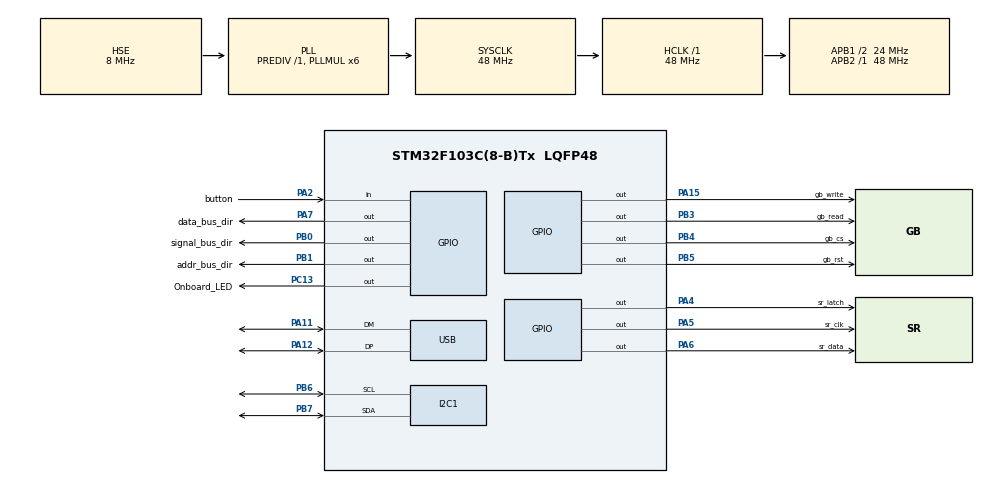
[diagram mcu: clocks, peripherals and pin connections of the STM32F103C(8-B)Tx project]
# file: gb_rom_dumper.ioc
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Mcu.Family=STM32F1
Mcu.Name=STM32F103C(8-B)Tx
Mcu.Package=LQFP48
NVIC.PriorityGroup=NVIC_PRIORITYGROUP_4
NVIC.USB_LP_CAN1_RX0_IRQn=true\:0\:0\:false\:false\:true\:false\:true\:true
PA11.Mode=Device
PA11.Signal=USB_DM
PA12.Mode=Device
PA12.Signal=USB_DP
PA15.GPIO_Label=gb_write
PA15.Signal=GPIO_Output
PA2.GPIO_Label=button
PA2.Signal=GPIO_Input
PA4.GPIO_Label=sr_latch
PA4.Signal=GPIO_Output
PA5.GPIO_Label=sr_clk
PA5.Signal=GPIO_Output
PA6.GPIO_Label=sr_data
PA6.Signal=GPIO_Output
PA7.GPIO_Label=data_bus_dir
PA7.Signal=GPIO_Output
PB0.GPIO_Label=signal_bus_dir
PB0.Signal=GPIO_Output
PB1.GPIO_Label=addr_bus_dir
PB1.Signal=GPIO_Output
PB3.GPIO_Label=gb_read
PB3.Signal=GPIO_Output
PB4.GPIO_Label=gb_cs
PB4.Signal=GPIO_Output
PB5.GPIO_Label=gb_rst
PB5.Signal=GPIO_Output
PB6.Mode=I2C
PB6.Signal=I2C1_SCL
PB7.Mode=I2C
PB7.Signal=I2C1_SDA
PC13-TAMPER-RTC.GPIO_Label=Onboard_LED
PC13-TAMPER-RTC.Signal=GPIO_Output
PD0-OSC_IN.Mode=HSE-External-Oscillator
PD0-OSC_IN.Signal=RCC_OSC_IN
PD1-OSC_OUT.Mode=HSE-External-Oscillator
PD1-OSC_OUT.Signal=RCC_OSC_OUT
ProjectManager.HeapSize=0x200
ProjectManager.StackSize=0x400
ProjectManager.TargetToolchain=STM32CubeIDE
RCC.AHBFreq_Value=48000000
RCC.APB1CLKDivider=RCC_HCLK_DIV2
RCC.APB1Freq_Value=24000000
RCC.APB1TimFreq_Value=48000000
RCC.APB2Freq_Value=48000000
RCC.APB2TimFreq_Value=48000000
RCC.HCLKFreq_Value=48000000
RCC.PLLMUL=RCC_PLL_MUL6
RCC.SYSCLKFreq_VALUE=48000000
RCC.SYSCLKSource=RCC_SYSCLKSOURCE_PLLCLK
RCC.USBFreq_Value=48000000
USB_DEVICE.CLASS_NAME_FS=CDC
USB_DEVICE.PRODUCT_STRING_CDC_FS=GBRomDumper Virtual ComPort (DEVELOPMENT
USB_DEVICE.VirtualMode=Cdc
USB_DEVICE.VirtualModeFS=Cdc_FS
VP_CRC_VS_CRC.Mode=CRC_Activate
VP_SYS_VS_ND.Mode=No_Debug
VP_USB_DEVICE_VS_USB_DEVICE_CDC_FS.Mode=CDC_FS
board=custom

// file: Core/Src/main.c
/* USER CODE BEGIN Header */
/**
  ******************************************************************************
  * @file           : main.c
  * @brief          : Main program body
  ******************************************************************************
  * @attention
  *
  * Copyright (c) 2022 STMicroelectronics.
  * All rights reserved.
  *
  * This software is licensed under terms that can be found in the LICENSE file
  * in the root directory of this software component.
  * If no LICENSE file comes with this software, it is provided AS-IS.
  *
  ******************************************************************************
  */
/* USER CODE END Header */
#include "main.h"
#include "usb_device.h"

/* USER CODE BEGIN Includes */
#include <stdbool.h>
#include <string.h>
#include "usbd_cdc_if.h"
/* USER CODE END Includes */

CRC_HandleTypeDef hcrc;

I2C_HandleTypeDef hi2c1;

/* USER CODE BEGIN PV */
gb_metadata_t gb_metadata = {0};

uint8_t usb_rx_buffer[APP_RX_DATA_SIZE];

uint8_t gb_rom_buff[ROM_BUFFER_SIZE];

uint8_t tetris_header[]  = {
	0x00, 0xC3, 0x50, 0x01, 0xCE, 0xED, 0x66, 0x66,
	0xCC, 0x0D, 0x00, 0x0B, 0x03, 0x73, 0x00, 0x83,
	0x00, 0x0C, 0x00, 0x0D, 0x00, 0x08, 0x11, 0x1F,
	0x88, 0x89, 0x00, 0x0E, 0xDC, 0xCC, 0x6E, 0xE6,
	0xDD, 0xDD, 0xD9, 0x99, 0xBB, 0xBB, 0x67, 0x63,
	0x6E, 0x0E, 0xEC, 0xCC, 0xDD, 0xDC, 0x99, 0x9F,
	0xBB, 0xB9, 0x33, 0x3E, 0x54, 0x45, 0x54, 0x52,
	0x49, 0x53, 0x00, 0x00, 0x00, 0x00, 0x00, 0x00,
	0x00, 0x00, 0x00, 0x00, 0x00, 0x00, 0x00, 0x00,
	0x00, 0x00, 0x00, 0x01, 0x01, 0x0A, 0x16, 0xBF
};
/* USER CODE END PV */

void SystemClock_Config(void);
static void MX_GPIO_Init(void);
static void MX_I2C1_Init(void);
static void MX_CRC_Init(void);
/* USER CODE BEGIN PFP */
//void init_test_gb_metadata(void)
//{
//	for(uint8_t i = 0; i < ROM_TITLE_LEN; ++i)
//	{
//		gb_metadata.rom_title[i] = i+65;
//	}
//
//	gb_metadata.manufacturers_code = 0x69;
//	gb_metadata.cgb_flag           = CGB_SUPPORT;
//	gb_metadata.new_licensee_code  = CAPCOM;
//	gb_metadata.sgb_flag           = SGB_NO;
//	gb_metadata.cart_type          = MBC1_RAM_BATT;
//	gb_metadata.rom_size           = ROM_512KB;
//	gb_metadata.ram_size           = RAM_8KB;
//	gb_metadata.dest_code          = NO_JAP;
//	gb_metadata.old_licensee_code  = 0x00;
//	gb_metadata.mask_rom_ver_num   = 0x01;
//	gb_metadata.checksum           = 0x03;
//}

void unpack_metadata(gb_metadata_t* md, uint8_t* buff)
{
	memcpy(&md->entry_point,        buff + HEADER_ADDR(CART_ENTRY_POINT),  ENTRY_POINT_LEN);
	memcpy(&md->rom_title,          buff + HEADER_ADDR(CART_TITLE),        ROM_TITLE_LEN);
	memcpy(&md->rom_title[11],      buff + HEADER_ADDR(CART_MAUFACTURER),  MAN_CODE_LEN);
	memcpy(&md->rom_title[15],      buff + HEADER_ADDR(CART_CGB_FLAG),     1);
	memcpy(&md->new_licensee_code,  buff + HEADER_ADDR(CART_NEW_LIC_CODE), 2);
	memcpy(&md->sgb_flag,           buff + HEADER_ADDR(CART_SGB_FLAG),     1);
	memcpy(&md->cart_type,          buff + HEADER_ADDR(CART_TYPE),         1);
	memcpy(&md->rom_size,           buff + HEADER_ADDR(CART_ROM_SIZE),     1);
	memcpy(&md->ram_size,           buff + HEADER_ADDR(CART_RAM_SIZE),     1);
	memcpy(&md->dest_code,          buff + HEADER_ADDR(CART_DEST_CODE),    1);
	memcpy(&md->old_licensee_code,  buff + HEADER_ADDR(CART_OLD_LIC_CODE), 1);
	memcpy(&md->mask_rom_ver_num,   buff + HEADER_ADDR(CART_MASK_ROM_VER), 1);
	memcpy(&md->checksum,           buff + HEADER_ADDR(CART_HEADER_CHECK), 1);
}

void address_bus_init();

//port b clock already started. no need to call this
void data_bus_init()
{
	// input mode & floating input are reset state so no need to set
	RCC->APB2ENR |= RCC_APB2ENR_IOPBEN;
}

inline uint8_t data_bus_read(void)
{
	// TODO: figure out what these need to be set to
//	HAL_GPIO_WritePin(data_bus_dir_GPIO_Port, data_bus_dir_Pin, GPIO_PIN_RESET);
//	HAL_GPIO_WritePin(gb_cs_GPIO_Port, gb_cs_Pin, GPIO_PIN_RESET);
//	HAL_GPIO_WritePin(gb_read_GPIO_Port, gb_read_Pin, GPIO_PIN_RESET);
	return DATA_BUS_PORT->IDR & !DATA_BUS_BITMASK;
}
void gb_set_read(void);
void gb_set_address(uint16_t addr)
{
	// TODO: figure out what these need to be set to
	gb_set_read();
	HAL_GPIO_WritePin(sr_latch_GPIO_Port, sr_latch_Pin, GPIO_PIN_RESET);

	for(uint8_t i = 0; i < ADDR_BUS_WIDTH; ++i)
	{
		HAL_GPIO_WritePin(sr_clk_GPIO_Port, sr_clk_Pin, GPIO_PIN_RESET);

		if(0x01 && (addr >> i))
		{
			HAL_GPIO_WritePin(sr_data_GPIO_Port, sr_data_Pin, GPIO_PIN_SET);
		}
		else
		{
			HAL_GPIO_WritePin(sr_data_GPIO_Port, sr_data_Pin, GPIO_PIN_RESET);
		}

		HAL_GPIO_WritePin(sr_clk_GPIO_Port, sr_clk_Pin, GPIO_PIN_SET);
	}

	HAL_GPIO_WritePin(sr_latch_GPIO_Port, sr_latch_Pin, GPIO_PIN_SET);
}

void gb_set_read(void)
{
//		HAL_GPIO_WritePin(addr_bus_dir_GPIO_Port, addr_bus_dir_Pin, GPIO_PIN_RESET);
		HAL_GPIO_WritePin(gb_cs_GPIO_Port, gb_cs_Pin, GPIO_PIN_RESET);
		HAL_GPIO_WritePin(gb_read_GPIO_Port, gb_read_Pin, GPIO_PIN_RESET);
		HAL_GPIO_WritePin(gb_write_GPIO_Port, gb_write_Pin, GPIO_PIN_SET);
}

void gb_set_write(void)
{
//		HAL_GPIO_WritePin(addr_bus_dir_GPIO_Port, addr_bus_dir_Pin, GPIO_PIN_RESET);
		HAL_GPIO_WritePin(gb_cs_GPIO_Port, gb_cs_Pin, GPIO_PIN_RESET);
		HAL_GPIO_WritePin(gb_read_GPIO_Port, gb_read_Pin, GPIO_PIN_RESET);
		HAL_GPIO_WritePin(gb_write_GPIO_Port, gb_write_Pin, GPIO_PIN_SET);
}

uint8_t gb_fetch_data(uint16_t addr)
{
	gb_set_address(addr);

	return data_bus_read();
}

inline uint8_t gb_header_checksum(gb_metadata_t *metadata)
{
	uint8_t checksum = 0;
	uint8_t *addr = (uint8_t*)&metadata->rom_title[0];

	while(addr < &metadata->checksum)
	{
		checksum -= (*addr++) - 1;
	}

	return checksum;
}

bool client_send_metadata(gb_metadata_t *metadata)
{
	client_instruction_e instruction = START_SEND_METADATA;

	while(USBD_BUSY == CDC_Transmit_FS((uint8_t*)&start_delimiter, sizeof(uint8_t)));
	while(USBD_BUSY == CDC_Transmit_FS((uint8_t*)&instruction,     sizeof(uint8_t)));
	while(USBD_BUSY == CDC_Transmit_FS((uint8_t*)metadata,         30));
	while(USBD_BUSY == CDC_Transmit_FS((uint8_t*)&end_delimiter,   sizeof(uint8_t)));

	return true;
}

void client_listen(void)
{

}

void client_send_chunk(uint8_t* data, uint8_t len);

//void set_test_metadata(gb_metadata_t *metadata)
//{
//	char title[ROM_TITLE_LEN] = "Testicles";
//
//	memcpy(gb_metadata.rom_title, title, ROM_TITLE_LEN);
//
//	gb_metadata.manufacturers_code = 0x69;
//	gb_metadata.cgb_flag           = CGB_SUPPORT;
//	gb_metadata.new_licensee_code  = CAPCOM;
//	gb_metadata.sgb_flag           = SGB_SUPPORT;
//	gb_metadata.cart_type          = POCKET_CAMERA;
//	gb_metadata.rom_size           = ROM_512KB;
//	gb_metadata.ram_size           = RAM_8KB;
//	gb_metadata.dest_code          = NO_JAP;
//	gb_metadata.old_licensee_code  = 0x00;
//	gb_metadata.mask_rom_ver_num   = 0x01;
//	gb_metadata.checksum           = 0x03;
//}

void send_test_metadata(gb_metadata_t *metadata)
{
	unpack_metadata(metadata, tetris_header);
	client_send_metadata(metadata);
}

void send_test_rom(gb_metadata_t *metadata, uint8_t num_pages)
{
	set_test_metadata(metadata);

	client_instruction_e instruction = START_SEND_ROM;
	const uint16_t size = sizeof(uint16_t) + sizeof(gb_metadata_t) + (ROM_BUFFER_SIZE * num_pages);

	while(USBD_BUSY == CDC_Transmit_FS((uint8_t*)&start_delimiter,        sizeof(uint8_t)));
	while(USBD_BUSY == CDC_Transmit_FS((uint8_t*)&instruction,            sizeof(uint8_t)));
	while(USBD_BUSY == CDC_Transmit_FS((uint8_t*)&size,                   sizeof(uint8_t)));
	while(USBD_BUSY == CDC_Transmit_FS((uint8_t*)(&size)+sizeof(uint8_t), sizeof(uint8_t))); // size >> 8. compiler yelled
	while(USBD_BUSY == CDC_Transmit_FS((uint8_t*)metadata,                sizeof(gb_metadata_t)));

	// generate buffer
	for(uint8_t page = 0; page < num_pages; ++page)
	{
		for(uint16_t i = 0; i < ROM_BUFFER_SIZE; i+=2)
		{
			gb_rom_buff[i] = 'A' + page;

			if(i < ROM_BUFFER_SIZE - 1)
			{
				gb_rom_buff[i + 1] = i;
			}
		}
		while(USBD_BUSY == CDC_Transmit_FS(gb_rom_buff, sizeof(ROM_BUFFER_SIZE)));
	}
	// tx checksum
	while(USBD_BUSY == CDC_Transmit_FS((uint8_t*)&end_delimiter,   sizeof(uint8_t)));
}

void dump_rom()
{
	for(uint16_t i = 0; i < 64; ++i)
	{

	}
}

void dump_ram();

bool get_metadata(gb_metadata_t *gb_metadata);
void get_title();

void write_oled();

//uint8_t gb_calc_checksum(uint8_t* rom);
//for usb com port stuff :  https://www.youtube.com/watch?v=92A98iEFmaA

/* USER CODE END PFP */

int main(void)
{
  /* USER CODE BEGIN 1 */
//	uint8_t usb_tx_buff[USB_TX_BUFF_LEN];

  /* USER CODE END 1 */

  /* MCU Configuration--------------------------------------------------------*/

  /* Reset of all peripherals, Initializes the Flash interface and the Systick. */
  HAL_Init();

  /* Configure the system clock */
  SystemClock_Config();

  /* Initialize all configured peripherals */
  MX_GPIO_Init();
  MX_I2C1_Init();
  MX_USB_DEVICE_Init();
  MX_CRC_Init();
  /* USER CODE BEGIN 2 */
//  init_test_gb_metadata();
//  set_test_metadata(&gb_metadata);
  	 unpack_metadata(&gb_metadata, tetris_header);

//  char* msg = "GB rom dumper usb serial";

//  memcpy(&gb_metadata, buf, sizeof(gb_msetadata_t));
  /* USER CODE END 2 */

  /* Infinite loop */
  /* USER CODE BEGIN WHILE */
  while (1)
  {
	  HAL_GPIO_TogglePin(Onboard_LED_GPIO_Port, Onboard_LED_Pin);
//	  while(USBD_BUSY == CDC_Transmit_FS((uint8_t*)msg, strlen(msg)));
//	  while(USBD_BUSY == CDC_Transmit_FS(buf, 10));
	  client_send_metadata(&gb_metadata);
	  HAL_Delay(1000);
    /* USER CODE END WHILE */

  }
}

void SystemClock_Config(void)
{
  RCC_OscInitTypeDef RCC_OscInitStruct = {0};
  RCC_ClkInitTypeDef RCC_ClkInitStruct = {0};
  RCC_PeriphCLKInitTypeDef PeriphClkInit = {0};

  /** Initializes the RCC Oscillators according to the specified parameters
  * in the RCC_OscInitTypeDef structure.
  */
  RCC_OscInitStruct.OscillatorType = RCC_OSCILLATORTYPE_HSE;
  RCC_OscInitStruct.HSEState = RCC_HSE_ON;
  RCC_OscInitStruct.HSEPredivValue = RCC_HSE_PREDIV_DIV1;
  RCC_OscInitStruct.HSIState = RCC_HSI_ON;
  RCC_OscInitStruct.PLL.PLLState = RCC_PLL_ON;
  RCC_OscInitStruct.PLL.PLLSource = RCC_PLLSOURCE_HSE;
  RCC_OscInitStruct.PLL.PLLMUL = RCC_PLL_MUL6;
  if (HAL_RCC_OscConfig(&RCC_OscInitStruct) != HAL_OK)
  {
    Error_Handler();
  }
  /** Initializes the CPU, AHB and APB buses clocks
  */
  RCC_ClkInitStruct.ClockType = RCC_CLOCKTYPE_HCLK|RCC_CLOCKTYPE_SYSCLK
                              |RCC_CLOCKTYPE_PCLK1|RCC_CLOCKTYPE_PCLK2;
  RCC_ClkInitStruct.SYSCLKSource = RCC_SYSCLKSOURCE_PLLCLK;
  RCC_ClkInitStruct.AHBCLKDivider = RCC_SYSCLK_DIV1;
  RCC_ClkInitStruct.APB1CLKDivider = RCC_HCLK_DIV2;
  RCC_ClkInitStruct.APB2CLKDivider = RCC_HCLK_DIV1;

  if (HAL_RCC_ClockConfig(&RCC_ClkInitStruct, FLASH_LATENCY_1) != HAL_OK)
  {
    Error_Handler();
  }
  PeriphClkInit.PeriphClockSelection = RCC_PERIPHCLK_USB;
  PeriphClkInit.UsbClockSelection = RCC_USBCLKSOURCE_PLL;
  if (HAL_RCCEx_PeriphCLKConfig(&PeriphClkInit) != HAL_OK)
  {
    Error_Handler();
  }
}

static void MX_CRC_Init(void)
{

  hcrc.Instance = CRC;
  if (HAL_CRC_Init(&hcrc) != HAL_OK)
  {
    Error_Handler();
  }

}

static void MX_I2C1_Init(void)
{

  hi2c1.Instance = I2C1;
  hi2c1.Init.ClockSpeed = 100000;
  hi2c1.Init.DutyCycle = I2C_DUTYCYCLE_2;
  hi2c1.Init.OwnAddress1 = 0;
  hi2c1.Init.AddressingMode = I2C_ADDRESSINGMODE_7BIT;
  hi2c1.Init.DualAddressMode = I2C_DUALADDRESS_DISABLE;
  hi2c1.Init.OwnAddress2 = 0;
  hi2c1.Init.GeneralCallMode = I2C_GENERALCALL_DISABLE;
  hi2c1.Init.NoStretchMode = I2C_NOSTRETCH_DISABLE;
  if (HAL_I2C_Init(&hi2c1) != HAL_OK)
  {
    Error_Handler();
  }

}

static void MX_GPIO_Init(void)
{
  GPIO_InitTypeDef GPIO_InitStruct = {0};

  /* GPIO Ports Clock Enable */
  __HAL_RCC_GPIOC_CLK_ENABLE();
  __HAL_RCC_GPIOD_CLK_ENABLE();
  __HAL_RCC_GPIOA_CLK_ENABLE();
  __HAL_RCC_GPIOB_CLK_ENABLE();

  /*Configure GPIO pin Output Level */
  HAL_GPIO_WritePin(Onboard_LED_GPIO_Port, Onboard_LED_Pin, GPIO_PIN_RESET);

  /*Configure GPIO pin Output Level */
  HAL_GPIO_WritePin(GPIOA, sr_latch_Pin|sr_clk_Pin|sr_data_Pin|data_bus_dir_Pin
                          |gb_write_Pin, GPIO_PIN_RESET);

  /*Configure GPIO pin Output Level */
  HAL_GPIO_WritePin(GPIOB, signal_bus_dir_Pin|addr_bus_dir_Pin|gb_read_Pin|gb_cs_Pin
                          |gb_rst_Pin, GPIO_PIN_RESET);

  /*Configure GPIO pin : Onboard_LED_Pin */
  GPIO_InitStruct.Pin = Onboard_LED_Pin;
  GPIO_InitStruct.Mode = GPIO_MODE_OUTPUT_PP;
  GPIO_InitStruct.Pull = GPIO_NOPULL;
  GPIO_InitStruct.Speed = GPIO_SPEED_FREQ_LOW;
  HAL_GPIO_Init(Onboard_LED_GPIO_Port, &GPIO_InitStruct);

  /*Configure GPIO pin : button_Pin */
  GPIO_InitStruct.Pin = button_Pin;
  GPIO_InitStruct.Mode = GPIO_MODE_INPUT;
  GPIO_InitStruct.Pull = GPIO_NOPULL;
  HAL_GPIO_Init(button_GPIO_Port, &GPIO_InitStruct);

  /*Configure GPIO pins : sr_latch_Pin sr_clk_Pin sr_data_Pin data_bus_dir_Pin
                           gb_write_Pin */
  GPIO_InitStruct.Pin = sr_latch_Pin|sr_clk_Pin|sr_data_Pin|data_bus_dir_Pin
                          |gb_write_Pin;
  GPIO_InitStruct.Mode = GPIO_MODE_OUTPUT_PP;
  GPIO_InitStruct.Pull = GPIO_NOPULL;
  GPIO_InitStruct.Speed = GPIO_SPEED_FREQ_LOW;
  HAL_GPIO_Init(GPIOA, &GPIO_InitStruct);

  /*Configure GPIO pins : signal_bus_dir_Pin addr_bus_dir_Pin gb_read_Pin gb_cs_Pin
                           gb_rst_Pin */
  GPIO_InitStruct.Pin = signal_bus_dir_Pin|addr_bus_dir_Pin|gb_read_Pin|gb_cs_Pin
                          |gb_rst_Pin;
  GPIO_InitStruct.Mode = GPIO_MODE_OUTPUT_PP;
  GPIO_InitStruct.Pull = GPIO_NOPULL;
  GPIO_InitStruct.Speed = GPIO_SPEED_FREQ_LOW;
  HAL_GPIO_Init(GPIOB, &GPIO_InitStruct);

}

void Error_Handler(void)
{
  __disable_irq();
  while (1)
  {
  }
}
